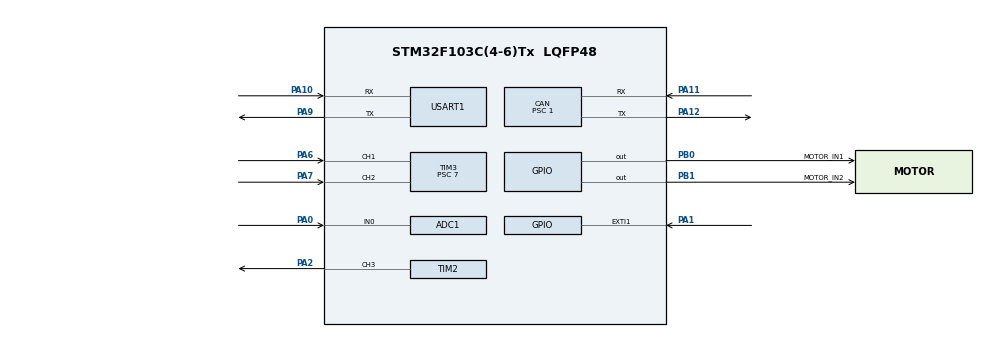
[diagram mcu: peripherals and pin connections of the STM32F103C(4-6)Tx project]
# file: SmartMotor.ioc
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ADC1.Channel-0\#ChannelRegularConversion=ADC_CHANNEL_0
ADC1.ContinuousConvMode=ENABLE
ADC1.NbrOfConversionFlag=1
ADC1.Rank-0\#ChannelRegularConversion=1
ADC1.SamplingTime-0\#ChannelRegularConversion=ADC_SAMPLETIME_1CYCLE_5
ADC1.master=1
CAN.BS1=CAN_BS1_13TQ
CAN.BS2=CAN_BS2_2TQ
CAN.CalculateBaudRate=500000
CAN.CalculateTimeBit=2000
CAN.CalculateTimeQuantum=125.0
CAN.Prescaler=1
Dma.ADC1.0.Direction=DMA_PERIPH_TO_MEMORY
Dma.ADC1.0.Instance=DMA1_Channel1
Dma.ADC1.0.MemDataAlignment=DMA_MDATAALIGN_HALFWORD
Dma.ADC1.0.MemInc=DMA_MINC_ENABLE
Dma.ADC1.0.Mode=DMA_CIRCULAR
Dma.ADC1.0.PeriphDataAlignment=DMA_PDATAALIGN_HALFWORD
Dma.ADC1.0.PeriphInc=DMA_PINC_DISABLE
Dma.ADC1.0.Priority=DMA_PRIORITY_LOW
Dma.Request0=ADC1
Dma.Request1=USART1_RX
Dma.USART1_RX.1.Direction=DMA_PERIPH_TO_MEMORY
Dma.USART1_RX.1.Instance=DMA1_Channel5
Dma.USART1_RX.1.MemDataAlignment=DMA_MDATAALIGN_BYTE
Dma.USART1_RX.1.MemInc=DMA_MINC_ENABLE
Dma.USART1_RX.1.Mode=DMA_NORMAL
Dma.USART1_RX.1.PeriphDataAlignment=DMA_PDATAALIGN_BYTE
Dma.USART1_RX.1.PeriphInc=DMA_PINC_DISABLE
Dma.USART1_RX.1.Priority=DMA_PRIORITY_LOW
FREERTOS.INCLUDE_vTaskDelayUntil=1
FREERTOS.Tasks01=MotorTask,0,256,StartDefaultTask,Default,NULL,Dynamic,NULL,NULL;ControlTask,2,256,StartTask02,Default,NULL,Dynamic,NULL,NULL
FREERTOS.configUSE_NEWLIB_REENTRANT=1
Mcu.Family=STM32F1
Mcu.Name=STM32F103C(4-6)Tx
Mcu.Package=LQFP48
NVIC.DMA1_Channel1_IRQn=true\:5\:0\:false\:false\:true\:true\:false\:true\:true
NVIC.DMA1_Channel5_IRQn=true\:5\:0\:false\:false\:true\:true\:false\:true\:true
NVIC.EXTI1_IRQn=true\:5\:0\:true\:false\:true\:true\:true\:true\:true
NVIC.PriorityGroup=NVIC_PRIORITYGROUP_4
NVIC.TIM1_UP_IRQn=true\:15\:0\:false\:false\:true\:false\:false\:true\:true
NVIC.TimeBase=TIM1_UP_IRQn
NVIC.TimeBaseIP=TIM1
NVIC.USART1_IRQn=true\:6\:0\:true\:false\:true\:true\:true\:true\:true
NVIC.USB_LP_CAN1_RX0_IRQn=true\:5\:0\:false\:false\:true\:true\:true\:true\:true
PA0-WKUP.Signal=ADCx_IN0
PA1.GPIO_ModeDefaultEXTI=GPIO_MODE_IT_FALLING
PA1.GPIO_PuPd=GPIO_PULLUP
PA1.Signal=GPXTI1
PA10.Mode=Asynchronous
PA10.Signal=USART1_RX
PA11.Mode=CAN_Activate
PA11.Signal=CAN_RX
PA12.Mode=CAN_Activate
PA12.Signal=CAN_TX
PA13.Mode=Serial_Wire
PA13.Signal=SYS_JTMS-SWDIO
PA14.Mode=Serial_Wire
PA14.Signal=SYS_JTCK-SWCLK
PA2.Signal=S_TIM2_CH3
PA6.Signal=S_TIM3_CH1
PA7.Signal=S_TIM3_CH2
PA9.Mode=Asynchronous
PA9.Signal=USART1_TX
PB0.GPIO_Label=MOTOR_IN1
PB0.Signal=GPIO_Output
PB1.GPIO_Label=MOTOR_IN2
PB1.Signal=GPIO_Output
ProjectManager.HeapSize=0x200
ProjectManager.StackSize=0x400
ProjectManager.TargetToolchain=STM32CubeIDE
RCC.APB1Freq_Value=8000000
RCC.APB2Freq_Value=8000000
SH.ADCx_IN0.0=ADC1_IN0,IN0
SH.S_TIM2_CH3.0=TIM2_CH3,PWM Generation3 CH3
SH.S_TIM3_CH1.0=TIM3_CH1,Encoder_Interface
SH.S_TIM3_CH2.0=TIM3_CH2,Encoder_Interface
TIM2.Channel-PWM\ Generation3\ CH3=TIM_CHANNEL_3
TIM3.EncoderMode=TIM_ENCODERMODE_TI12
TIM3.Period=999
TIM3.Prescaler=7
USART1.VirtualMode=VM_ASYNC
VP_FREERTOS_VS_CMSIS_V1.Mode=CMSIS_V1
VP_IWDG_VS_IWDG.Mode=IWDG_Activate
VP_SYS_VS_tim1.Mode=TIM1
board=custom

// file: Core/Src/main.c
/* USER CODE BEGIN Header */
/**
 ******************************************************************************
 * @file : main.c
 * @brief : Main program body
 ******************************************************************************
 * @attention
 *
 * Copyright (c) 2026 STMicroelectronics.
 * All rights reserved.
 *
 * This software is licensed under terms that can be found in the LICENSE file
 * in the root directory of this software component.
 * If no LICENSE file comes with this software, it is provided AS-IS.
 *
 ******************************************************************************
 */
/* USER CODE END Header */
#include "main.h"
#include "cmsis_os.h"

/* USER CODE BEGIN Includes */
#include <stdlib.h>
#include <string.h>
#include <stdio.h>
#include <math.h>
#include "semphr.h"
/* USER CODE END Includes */

/* USER CODE BEGIN PD */
//#define COMM_MODE_UART
#if !defined(COMM_MODE_UART) && !defined(COMM_MODE_CAN)
#define COMM_MODE_CAN
#endif
#if defined(COMM_MODE_UART) && defined(COMM_MODE_CAN)
#error Select only one communication mode
#endif
/* USER CODE END PD */

ADC_HandleTypeDef hadc1;
DMA_HandleTypeDef hdma_adc1;

CAN_HandleTypeDef hcan;

IWDG_HandleTypeDef hiwdg;

TIM_HandleTypeDef htim2;
TIM_HandleTypeDef htim3;

UART_HandleTypeDef huart1;
DMA_HandleTypeDef hdma_usart1_rx;

osThreadId MotorTaskHandle;
osThreadId ControlTaskHandle;
/* USER CODE BEGIN PV */
#ifdef COMM_MODE_CAN
CAN_TxHeaderTypeDef TxHeader;
CAN_RxHeaderTypeDef RxHeader;
uint8_t TxData[8];
uint8_t RxData[8];
uint32_t TxMailbox;
const uint32_t CAN_ID_COMMANDS = 0x010;
const uint32_t CAN_ID_TELEMETRY = 0x020;
#endif
uint8_t rx_buffer[33];
#ifdef COMM_MODE_UART
uint8_t uart_rx_buffer[32];
volatile uint8_t uart_restart_needed = 0;
static StaticSemaphore_t uart_tx_mutex_buffer;
static SemaphoreHandle_t uart_tx_mutex;
#endif
volatile uint32_t command_timestamp = 0;
volatile uint32_t command_fault_generation = 0;
volatile uint32_t fault_generation = 0;
volatile uint32_t motor_task_heartbeat = 0;
uint8_t adc_sample_valid = 0;
int8_t last_motor_direction = 0;
uint32_t motor_stop_time = 0;
volatile uint16_t command_length=0;
uint32_t adc_value = 0;
volatile uint8_t command_ready=0;
float motor_current = 0.0f;
const float CURRENT_TRESHOLD = 3.5f;
uint16_t encoder_count = 0;
uint16_t encoder_last_count = 0;
int16_t speed_rpm = 0;
uint32_t last_time = 0;
uint32_t last_pid_time;

typedef struct{
    float Kd;
    float Kp;
    float Ki;
    float integral_sum;
    float prev_error;
    float out_min;
    float out_max;
}PID_Controller;
PID_Controller motor1_pid;
float target_speed_rpm;
int8_t motor_direction = 0;

typedef enum{
	Waiting_command_State,
	Fault_State,
	Motor_logic_Handling_State,
}SystemState_t;
SystemState_t current_state = Waiting_command_State;
typedef enum {
	FAULT_NONE = 0x00,
	FAULT_ESTOP = 0x01,
	FAULT_OVERCURRENT = 0x02,
	FAULT_TIMEOUT = 0x04,
	FAULT_STALL = 0x08,
	FAULT_ADC = 0x10,
	FAULT_TASK = 0x20,
	FAULT_COMM = 0x40
} FaultCode_t;
volatile uint32_t system_faults = FAULT_NONE;
volatile uint32_t last_comm_time = 0;
uint32_t stall_time_ms = 0;
const uint32_t COMM_TIMEOUT_MS = 500;
typedef struct{
uint32_t timestamp;
int16_t current_rpm;
int16_t target_rpm;
float current_amps;
uint32_t active_faults;
}TelemetryPacket_t;
TelemetryPacket_t telemetry_data;
/* USER CODE END PV */

void SystemClock_Config(void);
static void MX_GPIO_Init(void);
static void MX_DMA_Init(void);
static void MX_TIM3_Init(void);
static void MX_USART1_UART_Init(void);
static void MX_ADC1_Init(void);
static void MX_TIM2_Init(void);
static void MX_IWDG_Init(void);
static void MX_CAN_Init(void);
void StartDefaultTask(void const * argument);
void StartTask02(void const * argument);

/* USER CODE BEGIN 0 */

static void StopMotorOutputs(void)
{
    if (htim2.Instance != NULL) {
        __HAL_TIM_SET_COMPARE(&htim2, TIM_CHANNEL_3, 0);
        htim2.Instance->EGR = TIM_EGR_UG;
    }
    HAL_GPIO_WritePin(MOTOR_IN1_GPIO_Port, MOTOR_IN1_Pin, GPIO_PIN_RESET);
    HAL_GPIO_WritePin(MOTOR_IN2_GPIO_Port, MOTOR_IN2_Pin, GPIO_PIN_RESET);
}

static void AddFault(uint32_t faults)
{
    if (faults != FAULT_NONE) {
        system_faults |= faults;
        fault_generation++;
    }
}

static void ResetPID(void)
{
    motor1_pid.integral_sum = 0.0f;
    motor1_pid.prev_error = 0.0f;
    stall_time_ms = 0;
}

static void StopMotor(void)
{
    if (motor_direction != 0 || target_speed_rpm > 0.0f) {
        motor_stop_time = HAL_GetTick();
    }
    StopMotorOutputs();
    motor_direction = 0;
    target_speed_rpm = 0.0f;
    ResetPID();
    current_state = system_faults == FAULT_NONE ? Waiting_command_State : Fault_State;
}

float PID_Compute(PID_Controller *pid, float target_rpm, float current_rpm, float dt)
{
    if (!isfinite(dt) || dt <= 0.0f) {
        return 0.0f;
    }
    float error = target_rpm - current_rpm;
    float integral = pid->integral_sum + pid->Ki * error * dt;
    if (integral > pid->out_max) integral = pid->out_max;
    if (integral < pid->out_min) integral = pid->out_min;
    float d_term = pid->Kd * (error - pid->prev_error) / dt;
    float result = pid->Kp * error + integral + d_term;
    if ((result <= pid->out_max || error < 0.0f) &&
        (result >= pid->out_min || error > 0.0f)) {
        pid->integral_sum = integral;
    }
    result = pid->Kp * error + pid->integral_sum + d_term;
    pid->prev_error = error;
    last_pid_time = HAL_GetTick();
    if (result > pid->out_max) result = pid->out_max;
    if (result < pid->out_min) result = pid->out_min;
    return result;
}

static void StoreCommandFromISR(const uint8_t *data, uint16_t length)
{
    BaseType_t task_woken = pdFALSE;
    UBaseType_t mask = taskENTER_CRITICAL_FROM_ISR();
    if (length == 0 || length >= sizeof(rx_buffer) || command_ready) {
        AddFault(FAULT_COMM);
        command_ready = 0;
        command_length = 0;
        StopMotorOutputs();
    } else {
        memcpy(rx_buffer, data, length);
        rx_buffer[length] = '\0';
        command_length = length;
        command_timestamp = HAL_GetTick();
        command_fault_generation = fault_generation;
        command_ready = 1;
    }
    taskEXIT_CRITICAL_FROM_ISR(mask);
    vTaskNotifyGiveFromISR(MotorTaskHandle, &task_woken);
    portYIELD_FROM_ISR(task_woken);
}

static uint8_t TakeCommand(uint8_t *data, uint16_t *length,
                           uint32_t *timestamp, uint32_t *generation)
{
    uint8_t ready;
    taskENTER_CRITICAL();
    ready = command_ready;
    if (ready) {
        *length = command_length;
        memcpy(data, rx_buffer, *length + 1U);
        *timestamp = command_timestamp;
        *generation = command_fault_generation;
        command_ready = 0;
    }
    taskEXIT_CRITICAL();
    return ready;
}

static uint8_t ProcessCommand(uint8_t *data, uint16_t length, uint32_t timestamp,
                              uint32_t generation, char *reply, size_t reply_size)
{
    while (length > 0 && (data[length - 1U] == '\r' ||
           data[length - 1U] == '\n' || data[length - 1U] == '\0')) {
        length--;
    }
    data[length] = '\0';
    for (uint16_t i = 0; i < length; i++) {
        if (data[i] == '\0' || data[i] == '\r' || data[i] == '\n') {
            snprintf(reply, reply_size, "Unknown command\r\n");
            return 0;
        }
    }
    uint8_t stop = strcmp((char *)data, "STOP") == 0;
    uint8_t reset = strcmp((char *)data, "RESET") == 0;
    uint8_t crash = strcmp((char *)data, "CRASH") == 0;
    int speed = -1;
    int8_t direction = 0;
    if (length >= 2 && length <= 4 && (data[0] == 'F' || data[0] == 'R')) {
        speed = 0;
        direction = data[0] == 'F' ? 1 : -1;
        for (uint16_t i = 1; i < length; i++) {
            if (data[i] < '0' || data[i] > '9') {
                speed = -1;
                break;
            }
            speed = speed * 10 + data[i] - '0';
        }
    }
    if (!stop && !reset && !crash && speed < 0) {
        snprintf(reply, reply_size, "Unknown command\r\n");
        return 0;
    }
    uint32_t now = HAL_GetTick();
    if (!stop && speed != 0 && now - timestamp > COMM_TIMEOUT_MS) {
        snprintf(reply, reply_size, "Command expired\r\n");
        return 0;
    }

    uint8_t do_crash = 0;
    uint32_t faults;
    int16_t rpm;
    uint8_t result = 0;
    taskENTER_CRITICAL();
    if (HAL_GPIO_ReadPin(GPIOA, GPIO_PIN_1) == GPIO_PIN_RESET) {
        AddFault(FAULT_ESTOP);
        StopMotor();
    }
    if (stop || speed == 0) {
        StopMotor();
        last_comm_time = now;
        result = 1;
    } else if (reset) {
        if (generation == fault_generation && adc_sample_valid &&
            motor_current <= CURRENT_TRESHOLD &&
            HAL_GPIO_ReadPin(GPIOA, GPIO_PIN_1) == GPIO_PIN_SET &&
            (system_faults & FAULT_TASK) == 0
#ifdef COMM_MODE_UART
            && !uart_restart_needed
#endif
#ifdef COMM_MODE_CAN
            && (hcan.Instance->ESR & CAN_ESR_BOFF) == 0
#endif
            ) {
            system_faults = FAULT_NONE;
            StopMotor();
            motor_stop_time = now;
            last_comm_time = now;
            result = 2;
        } else {
            result = 3;
        }
    } else if (system_faults == FAULT_NONE) {
        if (crash) {
            StopMotor();
            do_crash = 1;
            result = 4;
        } else if (last_motor_direction != 0 && direction != last_motor_direction &&
                   (motor_direction != 0 || abs(speed_rpm) > 10 ||
                    now - motor_stop_time < 100U)) {
            if (motor_direction != 0) StopMotor();
            last_comm_time = timestamp;
            result = 5;
        } else {
            if (motor_direction == 0) ResetPID();
            motor_direction = direction;
            last_motor_direction = direction;
            target_speed_rpm = (float)speed;
            current_state = Motor_logic_Handling_State;
            last_comm_time = timestamp;
            result = 6;
        }
    }
    faults = system_faults;
    rpm = speed_rpm;
    taskEXIT_CRITICAL();

    if (result == 1) {
        snprintf(reply, reply_size, "Status: Motor stopped, RPM=%d, FAULTS:0x%02lX\r\n",
                 rpm, (unsigned long)faults);
    } else if (result == 2) {
        snprintf(reply, reply_size, "System faults cleared. Ready\r\n");
    } else if (result == 3) {
        snprintf(reply, reply_size, "RESET refused. FAULTS:0x%02lX\r\n", (unsigned long)faults);
    } else if (result == 4) {
        snprintf(reply, reply_size, "Simulating fatal crash\r\n");
    } else if (result == 5) {
        snprintf(reply, reply_size, "Motor stopped. Wait before reversing\r\n");
    } else if (result == 6) {
        snprintf(reply, reply_size, "Status: %s, Target=%d RPM, RPM=%d\r\n",
                 direction > 0 ? "Forward" : "Reverse", speed, rpm);
    } else {
        snprintf(reply, reply_size, "Error! Active Faults: 0x%02lX. Send RESET.\r\n",
                 (unsigned long)faults);
    }
    return do_crash;
}

static void UART_Send(const char *data)
{
#ifdef COMM_MODE_UART
    if (xSemaphoreTake(uart_tx_mutex, pdMS_TO_TICKS(20)) != pdTRUE) return;
#endif
    HAL_UART_Transmit(&huart1, (uint8_t *)data, (uint16_t)strlen(data), 20);
#ifdef COMM_MODE_UART
    xSemaphoreGive(uart_tx_mutex);
#endif
}

static void ControlMotor(uint32_t now, uint8_t adc_valid)
{
    encoder_count = (uint16_t)__HAL_TIM_GET_COUNTER(&htim3);
    uint16_t difference = (uint16_t)(encoder_count - encoder_last_count);
    int32_t delta = difference <= 32767U ? (int32_t)difference : (int32_t)difference - 65536;
    uint32_t elapsed_ms = now - last_time;
    if (elapsed_ms != 0) {
        int32_t rpm = (int32_t)((int64_t)delta * 60000 / ((int64_t)96 * elapsed_ms));
        if (rpm > 32767) rpm = 32767;
        if (rpm < -32768) rpm = -32768;
        speed_rpm = (int16_t)rpm;
        encoder_last_count = encoder_count;
        last_time = now;
    }

    taskENTER_CRITICAL();
    adc_sample_valid = adc_valid;
    uint32_t faults = FAULT_NONE;
    if (!adc_valid) faults |= FAULT_ADC;
    if (adc_valid && motor_current > CURRENT_TRESHOLD) faults |= FAULT_OVERCURRENT;
    if (HAL_GPIO_ReadPin(GPIOA, GPIO_PIN_1) == GPIO_PIN_RESET) faults |= FAULT_ESTOP;
    if (now - motor_task_heartbeat > 300U || elapsed_ms > 300U) faults |= FAULT_TASK;
#ifdef COMM_MODE_CAN
    if ((hcan.Instance->ESR & CAN_ESR_BOFF) != 0) faults |= FAULT_COMM;
#endif
    if (motor_direction != 0 && now - last_comm_time > COMM_TIMEOUT_MS) faults |= FAULT_TIMEOUT;
    AddFault(faults);

    float pwm = 0.0f;
    if (system_faults == FAULT_NONE && motor_direction != 0 && target_speed_rpm > 0.0f) {
        float current_speed_abs = (float)abs(speed_rpm);
        if (elapsed_ms != 0) {
            pwm = PID_Compute(&motor1_pid, target_speed_rpm, current_speed_abs,
                              (float)elapsed_ms / 1000.0f);
        }
        if (target_speed_rpm >= 10.0f && current_speed_abs < 10.0f && pwm > 0.0f) {
            stall_time_ms += elapsed_ms;
            if (stall_time_ms >= 1000U) AddFault(FAULT_STALL);
        } else {
            stall_time_ms = 0;
        }
    }
    if (system_faults != FAULT_NONE || motor_direction == 0 || target_speed_rpm <= 0.0f) {
        StopMotor();
    } else {
        HAL_GPIO_WritePin(MOTOR_IN1_GPIO_Port, MOTOR_IN1_Pin,
                         motor_direction > 0 ? GPIO_PIN_SET : GPIO_PIN_RESET);
        HAL_GPIO_WritePin(MOTOR_IN2_GPIO_Port, MOTOR_IN2_Pin,
                         motor_direction < 0 ? GPIO_PIN_SET : GPIO_PIN_RESET);
        __HAL_TIM_SET_COMPARE(&htim2, TIM_CHANNEL_3, (uint32_t)pwm);
    }
    telemetry_data.timestamp = now;
    telemetry_data.current_rpm = speed_rpm;
    telemetry_data.target_rpm = (int16_t)(target_speed_rpm * motor_direction);
    telemetry_data.current_amps = motor_current;
    telemetry_data.active_faults = system_faults;
    uint8_t watchdog_healthy = (system_faults & FAULT_TASK) == 0;
    taskEXIT_CRITICAL();
    if (watchdog_healthy && HAL_IWDG_Refresh(&hiwdg) != HAL_OK) Error_Handler();
}
/* USER CODE END 0 */

int main(void)
{

  /* MCU Configuration--------------------------------------------------------*/

  /* Reset of all peripherals, Initializes the Flash interface and the Systick. */
  HAL_Init();

  /* Configure the system clock */
  SystemClock_Config();

  /* Initialize all configured peripherals */
  MX_GPIO_Init();
  MX_DMA_Init();
  MX_TIM3_Init();
  MX_USART1_UART_Init();
  MX_ADC1_Init();
  MX_TIM2_Init();
  MX_IWDG_Init();
  MX_CAN_Init();
  /* USER CODE BEGIN 2 */

  StopMotorOutputs();
  if (HAL_ADCEx_Calibration_Start(&hadc1) != HAL_OK) Error_Handler();
#ifdef COMM_MODE_UART
  HAL_NVIC_SetPriority(USART1_IRQn, 5, 0);
#endif
#ifdef COMM_MODE_CAN
  CAN_FilterTypeDef canfilterconfig = {0};
  canfilterconfig.FilterActivation = CAN_FILTER_ENABLE;
  canfilterconfig.FilterBank = 0;
  canfilterconfig.FilterFIFOAssignment = CAN_RX_FIFO0;
  canfilterconfig.FilterIdHigh = (CAN_ID_COMMANDS << 5);
  canfilterconfig.FilterIdLow = 0;
  canfilterconfig.FilterMaskIdHigh = (0x7FF << 5);
  canfilterconfig.FilterMaskIdLow = 0x0006;
  canfilterconfig.FilterMode = CAN_FILTERMODE_IDMASK;
  canfilterconfig.FilterScale = CAN_FILTERSCALE_32BIT;
  canfilterconfig.SlaveStartFilterBank = 14;
  if (HAL_CAN_ConfigFilter(&hcan, &canfilterconfig) != HAL_OK ||
      HAL_CAN_Start(&hcan) != HAL_OK) Error_Handler();
  TxHeader.StdId = CAN_ID_TELEMETRY;
  TxHeader.ExtId = 0;
  TxHeader.IDE = CAN_ID_STD;
  TxHeader.RTR = CAN_RTR_DATA;
  TxHeader.DLC = 8;
  TxHeader.TransmitGlobalTime = DISABLE;
#endif
  if (HAL_TIM_PWM_Start(&htim2, TIM_CHANNEL_3) != HAL_OK ||
      HAL_TIM_Encoder_Start(&htim3, TIM_CHANNEL_ALL) != HAL_OK) Error_Handler();
  StopMotorOutputs();
  last_time = HAL_GetTick();
  motor_task_heartbeat = last_time;
  motor_stop_time = last_time;
  encoder_last_count = (uint16_t)__HAL_TIM_GET_COUNTER(&htim3);
  motor1_pid.Kp = 40.0f;
  motor1_pid.Ki = 10.0f;
  motor1_pid.Kd = 1.0f;
  motor1_pid.out_max = 65535.0f;
  motor1_pid.out_min = 0.0f;
  ResetPID();
  if (HAL_GPIO_ReadPin(GPIOA, GPIO_PIN_1) == GPIO_PIN_RESET) {
    AddFault(FAULT_ESTOP);
    current_state = Fault_State;
  }
  HAL_IWDG_Refresh(&hiwdg);
/* USER CODE END 2 */

  /* USER CODE BEGIN RTOS_MUTEX */
  /* add mutexes, ... */
#ifdef COMM_MODE_UART
  uart_tx_mutex = xSemaphoreCreateMutexStatic(&uart_tx_mutex_buffer);
  if (uart_tx_mutex == NULL) Error_Handler();
#endif
  /* USER CODE END RTOS_MUTEX */

  /* Create the thread(s) */
  /* definition and creation of MotorTask */
  osThreadDef(MotorTask, StartDefaultTask, osPriorityNormal, 0, 256);
  MotorTaskHandle = osThreadCreate(osThread(MotorTask), NULL);

  /* definition and creation of ControlTask */
  osThreadDef(ControlTask, StartTask02, osPriorityHigh, 0, 256);
  ControlTaskHandle = osThreadCreate(osThread(ControlTask), NULL);

  /* USER CODE BEGIN RTOS_THREADS */
  /* add threads, ... */
  if (MotorTaskHandle == NULL || ControlTaskHandle == NULL) Error_Handler();
  /* USER CODE END RTOS_THREADS */

  /* Start scheduler */
  osKernelStart();
  Error_Handler();

  /* We should never get here as control is now taken by the scheduler */

  /* Infinite loop */
  while (1)
  {

  }
}

void SystemClock_Config(void)
{
  RCC_OscInitTypeDef RCC_OscInitStruct = {0};
  RCC_ClkInitTypeDef RCC_ClkInitStruct = {0};
  RCC_PeriphCLKInitTypeDef PeriphClkInit = {0};

  /** Initializes the RCC Oscillators according to the specified parameters
  * in the RCC_OscInitTypeDef structure.
  */
  RCC_OscInitStruct.OscillatorType = RCC_OSCILLATORTYPE_HSI|RCC_OSCILLATORTYPE_LSI;
  RCC_OscInitStruct.HSIState = RCC_HSI_ON;
  RCC_OscInitStruct.HSICalibrationValue = RCC_HSICALIBRATION_DEFAULT;
  RCC_OscInitStruct.LSIState = RCC_LSI_ON;
  RCC_OscInitStruct.PLL.PLLState = RCC_PLL_NONE;
  if (HAL_RCC_OscConfig(&RCC_OscInitStruct) != HAL_OK)
  {
    Error_Handler();
  }

  /** Initializes the CPU, AHB and APB buses clocks
  */
  RCC_ClkInitStruct.ClockType = RCC_CLOCKTYPE_HCLK|RCC_CLOCKTYPE_SYSCLK
                              |RCC_CLOCKTYPE_PCLK1|RCC_CLOCKTYPE_PCLK2;
  RCC_ClkInitStruct.SYSCLKSource = RCC_SYSCLKSOURCE_HSI;
  RCC_ClkInitStruct.AHBCLKDivider = RCC_SYSCLK_DIV1;
  RCC_ClkInitStruct.APB1CLKDivider = RCC_HCLK_DIV1;
  RCC_ClkInitStruct.APB2CLKDivider = RCC_HCLK_DIV1;

  if (HAL_RCC_ClockConfig(&RCC_ClkInitStruct, FLASH_LATENCY_0) != HAL_OK)
  {
    Error_Handler();
  }
  PeriphClkInit.PeriphClockSelection = RCC_PERIPHCLK_ADC;
  PeriphClkInit.AdcClockSelection = RCC_ADCPCLK2_DIV2;
  if (HAL_RCCEx_PeriphCLKConfig(&PeriphClkInit) != HAL_OK)
  {
    Error_Handler();
  }
}

static void MX_ADC1_Init(void)
{

  ADC_ChannelConfTypeDef sConfig = {0};

  /** Common config
  */
  hadc1.Instance = ADC1;
  hadc1.Init.ScanConvMode = ADC_SCAN_DISABLE;
  hadc1.Init.ContinuousConvMode = DISABLE;
  hadc1.Init.DiscontinuousConvMode = DISABLE;
  hadc1.Init.ExternalTrigConv = ADC_SOFTWARE_START;
  hadc1.Init.DataAlign = ADC_DATAALIGN_RIGHT;
  hadc1.Init.NbrOfConversion = 1;
  if (HAL_ADC_Init(&hadc1) != HAL_OK)
  {
    Error_Handler();
  }

  /** Configure Regular Channel
  */
  sConfig.Channel = ADC_CHANNEL_0;
  sConfig.Rank = ADC_REGULAR_RANK_1;
  sConfig.SamplingTime = ADC_SAMPLETIME_1CYCLE_5;
  if (HAL_ADC_ConfigChannel(&hadc1, &sConfig) != HAL_OK)
  {
    Error_Handler();
  }

}

static void MX_CAN_Init(void)
{

  hcan.Instance = CAN1;
  hcan.Init.Prescaler = 1;
  hcan.Init.Mode = CAN_MODE_NORMAL;
  hcan.Init.SyncJumpWidth = CAN_SJW_1TQ;
  hcan.Init.TimeSeg1 = CAN_BS1_13TQ;
  hcan.Init.TimeSeg2 = CAN_BS2_2TQ;
  hcan.Init.TimeTriggeredMode = DISABLE;
  hcan.Init.AutoBusOff = DISABLE;
  hcan.Init.AutoWakeUp = DISABLE;
  hcan.Init.AutoRetransmission = DISABLE;
  hcan.Init.ReceiveFifoLocked = DISABLE;
  hcan.Init.TransmitFifoPriority = DISABLE;
  if (HAL_CAN_Init(&hcan) != HAL_OK)
  {
    Error_Handler();
  }

}

static void MX_IWDG_Init(void)
{

  hiwdg.Instance = IWDG;
  hiwdg.Init.Prescaler = IWDG_PRESCALER_4;
  hiwdg.Init.Reload = 4095;
  if (HAL_IWDG_Init(&hiwdg) != HAL_OK)
  {
    Error_Handler();
  }

}

static void MX_TIM2_Init(void)
{

  TIM_MasterConfigTypeDef sMasterConfig = {0};
  TIM_OC_InitTypeDef sConfigOC = {0};

  htim2.Instance = TIM2;
  htim2.Init.Prescaler = 0;
  htim2.Init.CounterMode = TIM_COUNTERMODE_UP;
  htim2.Init.Period = 65535;
  htim2.Init.ClockDivision = TIM_CLOCKDIVISION_DIV1;
  htim2.Init.AutoReloadPreload = TIM_AUTORELOAD_PRELOAD_DISABLE;
  if (HAL_TIM_PWM_Init(&htim2) != HAL_OK)
  {
    Error_Handler();
  }
  sMasterConfig.MasterOutputTrigger = TIM_TRGO_RESET;
  sMasterConfig.MasterSlaveMode = TIM_MASTERSLAVEMODE_DISABLE;
  if (HAL_TIMEx_MasterConfigSynchronization(&htim2, &sMasterConfig) != HAL_OK)
  {
    Error_Handler();
  }
  sConfigOC.OCMode = TIM_OCMODE_PWM1;
  sConfigOC.Pulse = 0;
  sConfigOC.OCPolarity = TIM_OCPOLARITY_HIGH;
  sConfigOC.OCFastMode = TIM_OCFAST_DISABLE;
  if (HAL_TIM_PWM_ConfigChannel(&htim2, &sConfigOC, TIM_CHANNEL_3) != HAL_OK)
  {
    Error_Handler();
  }
  HAL_TIM_MspPostInit(&htim2);

}

static void MX_TIM3_Init(void)
{

  TIM_Encoder_InitTypeDef sConfig = {0};
  TIM_MasterConfigTypeDef sMasterConfig = {0};

  htim3.Instance = TIM3;
  htim3.Init.Prescaler = 0;
  htim3.Init.CounterMode = TIM_COUNTERMODE_UP;
  htim3.Init.Period = 65535;
  htim3.Init.ClockDivision = TIM_CLOCKDIVISION_DIV1;
  htim3.Init.AutoReloadPreload = TIM_AUTORELOAD_PRELOAD_DISABLE;
  sConfig.EncoderMode = TIM_ENCODERMODE_TI12;
  sConfig.IC1Polarity = TIM_ICPOLARITY_RISING;
  sConfig.IC1Selection = TIM_ICSELECTION_DIRECTTI;
  sConfig.IC1Prescaler = TIM_ICPSC_DIV1;
  sConfig.IC1Filter = 0;
  sConfig.IC2Polarity = TIM_ICPOLARITY_RISING;
  sConfig.IC2Selection = TIM_ICSELECTION_DIRECTTI;
  sConfig.IC2Prescaler = TIM_ICPSC_DIV1;
  sConfig.IC2Filter = 0;
  if (HAL_TIM_Encoder_Init(&htim3, &sConfig) != HAL_OK)
  {
    Error_Handler();
  }
  sMasterConfig.MasterOutputTrigger = TIM_TRGO_RESET;
  sMasterConfig.MasterSlaveMode = TIM_MASTERSLAVEMODE_DISABLE;
  if (HAL_TIMEx_MasterConfigSynchronization(&htim3, &sMasterConfig) != HAL_OK)
  {
    Error_Handler();
  }

}

static void MX_USART1_UART_Init(void)
{

  huart1.Instance = USART1;
  huart1.Init.BaudRate = 115200;
  huart1.Init.WordLength = UART_WORDLENGTH_8B;
  huart1.Init.StopBits = UART_STOPBITS_1;
  huart1.Init.Parity = UART_PARITY_NONE;
  huart1.Init.Mode = UART_MODE_TX_RX;
  huart1.Init.HwFlowCtl = UART_HWCONTROL_NONE;
  huart1.Init.OverSampling = UART_OVERSAMPLING_16;
  if (HAL_UART_Init(&huart1) != HAL_OK)
  {
    Error_Handler();
  }

}

static void MX_DMA_Init(void)
{

  /* DMA controller clock enable */
  __HAL_RCC_DMA1_CLK_ENABLE();

  /* DMA interrupt init */
  /* DMA1_Channel1_IRQn interrupt configuration */
  HAL_NVIC_SetPriority(DMA1_Channel1_IRQn, 5, 0);
  HAL_NVIC_EnableIRQ(DMA1_Channel1_IRQn);
  /* DMA1_Channel5_IRQn interrupt configuration */
  HAL_NVIC_SetPriority(DMA1_Channel5_IRQn, 5, 0);
  HAL_NVIC_EnableIRQ(DMA1_Channel5_IRQn);

}

static void MX_GPIO_Init(void)
{
  GPIO_InitTypeDef GPIO_InitStruct = {0};

  /* GPIO Ports Clock Enable */
  __HAL_RCC_GPIOA_CLK_ENABLE();
  __HAL_RCC_GPIOB_CLK_ENABLE();

  /*Configure GPIO pin Output Level */
  HAL_GPIO_WritePin(GPIOB, MOTOR_IN1_Pin|MOTOR_IN2_Pin, GPIO_PIN_RESET);

  /*Configure GPIO pin : PA1 */
  GPIO_InitStruct.Pin = GPIO_PIN_1;
  GPIO_InitStruct.Mode = GPIO_MODE_IT_FALLING;
  GPIO_InitStruct.Pull = GPIO_PULLUP;
  HAL_GPIO_Init(GPIOA, &GPIO_InitStruct);

  /*Configure GPIO pins : MOTOR_IN1_Pin MOTOR_IN2_Pin */
  GPIO_InitStruct.Pin = MOTOR_IN1_Pin|MOTOR_IN2_Pin;
  GPIO_InitStruct.Mode = GPIO_MODE_OUTPUT_PP;
  GPIO_InitStruct.Pull = GPIO_NOPULL;
  GPIO_InitStruct.Speed = GPIO_SPEED_FREQ_LOW;
  HAL_GPIO_Init(GPIOB, &GPIO_InitStruct);

  /* EXTI interrupt init*/
  HAL_NVIC_SetPriority(EXTI1_IRQn, 5, 0);
  HAL_NVIC_EnableIRQ(EXTI1_IRQn);

}

/* USER CODE BEGIN 4 */

void HAL_GPIO_EXTI_Callback(uint16_t GPIO_Pin)
{
    if (GPIO_Pin == GPIO_PIN_1) {
        UBaseType_t mask = taskENTER_CRITICAL_FROM_ISR();
        AddFault(FAULT_ESTOP);
        StopMotorOutputs();
        taskEXIT_CRITICAL_FROM_ISR(mask);
    }
}

#ifdef COMM_MODE_UART
void HAL_UARTEx_RxEventCallback(UART_HandleTypeDef *huart, uint16_t Size)
{
    if (huart->Instance == USART1) {
        if (HAL_UARTEx_GetRxEventType(huart) == HAL_UART_RXEVENT_HT) return;
        StoreCommandFromISR(uart_rx_buffer, Size);
        if (HAL_UARTEx_ReceiveToIdle_DMA(huart, uart_rx_buffer, sizeof(uart_rx_buffer)) != HAL_OK) {
            UBaseType_t mask = taskENTER_CRITICAL_FROM_ISR();
            AddFault(FAULT_COMM);
            StopMotorOutputs();
            uart_restart_needed = 1;
            taskEXIT_CRITICAL_FROM_ISR(mask);
        }
        __HAL_DMA_DISABLE_IT(huart->hdmarx, DMA_IT_HT);
    }
}

void HAL_UART_ErrorCallback(UART_HandleTypeDef *huart)
{
    if (huart->Instance == USART1) {
        UBaseType_t mask = taskENTER_CRITICAL_FROM_ISR();
        AddFault(FAULT_COMM);
        StopMotorOutputs();
        uart_restart_needed = 1;
        command_ready = 0;
        taskEXIT_CRITICAL_FROM_ISR(mask);
    }
}
#endif

#ifdef COMM_MODE_CAN
void HAL_CAN_RxFifo0MsgPendingCallback(CAN_HandleTypeDef *can)
{
    if (can->Instance != CAN1) return;
    if (HAL_CAN_GetRxMessage(can, CAN_RX_FIFO0, &RxHeader, RxData) != HAL_OK) {
        UBaseType_t mask = taskENTER_CRITICAL_FROM_ISR();
        AddFault(FAULT_COMM);
        StopMotorOutputs();
        taskEXIT_CRITICAL_FROM_ISR(mask);
        return;
    }
    if (RxHeader.IDE == CAN_ID_STD && RxHeader.RTR == CAN_RTR_DATA &&
        RxHeader.StdId == CAN_ID_COMMANDS && RxHeader.DLC > 0 && RxHeader.DLC <= 8) {
        StoreCommandFromISR(RxData, (uint16_t)RxHeader.DLC);
    }
}

void HAL_CAN_ErrorCallback(CAN_HandleTypeDef *can)
{
    if (can->Instance == CAN1) {
        UBaseType_t mask = taskENTER_CRITICAL_FROM_ISR();
        AddFault(FAULT_COMM);
        StopMotorOutputs();
        command_ready = 0;
        taskEXIT_CRITICAL_FROM_ISR(mask);
    }
}
#endif
/* USER CODE END 4 */

void StartDefaultTask(void const * argument)
{
  /* USER CODE BEGIN 5 */

  /* Infinite loop */
  (void)argument;
  char tx_buffer[100];
  uint8_t command[sizeof(rx_buffer)];
#ifdef COMM_MODE_UART
  if (HAL_UARTEx_ReceiveToIdle_DMA(&huart1, uart_rx_buffer, sizeof(uart_rx_buffer)) != HAL_OK) {
    taskENTER_CRITICAL();
    AddFault(FAULT_COMM);
    uart_restart_needed = 1;
    taskEXIT_CRITICAL();
  }
  __HAL_DMA_DISABLE_IT(huart1.hdmarx, DMA_IT_HT);
  UART_Send("\r\n--- SYSTEM BOOT / RESET ---\r\n");
#endif
#ifdef COMM_MODE_CAN
  if (HAL_CAN_ActivateNotification(&hcan, CAN_IT_RX_FIFO0_MSG_PENDING | CAN_IT_RX_FIFO0_OVERRUN) != HAL_OK) {
    Error_Handler();
  }
#endif
  for (;;) {
    motor_task_heartbeat = HAL_GetTick();
    ulTaskNotifyTake(pdTRUE, pdMS_TO_TICKS(20));
    motor_task_heartbeat = HAL_GetTick();
#ifdef COMM_MODE_UART
    taskENTER_CRITICAL();
    uint8_t restart = uart_restart_needed;
    uart_restart_needed = 0;
    taskEXIT_CRITICAL();
    if (restart) {
      HAL_NVIC_DisableIRQ(USART1_IRQn);
      HAL_NVIC_DisableIRQ(DMA1_Channel5_IRQn);
      HAL_StatusTypeDef status = HAL_UART_AbortReceive(&huart1);
      if (status == HAL_OK) {
        status = HAL_UARTEx_ReceiveToIdle_DMA(&huart1, uart_rx_buffer, sizeof(uart_rx_buffer));
        __HAL_DMA_DISABLE_IT(huart1.hdmarx, DMA_IT_HT);
      }
      HAL_NVIC_EnableIRQ(DMA1_Channel5_IRQn);
      HAL_NVIC_EnableIRQ(USART1_IRQn);
      if (status != HAL_OK) {
        taskENTER_CRITICAL();
        AddFault(FAULT_COMM);
        StopMotorOutputs();
        uart_restart_needed = 1;
        taskEXIT_CRITICAL();
      }
    }
#endif
    uint16_t length = 0;
    uint32_t timestamp = 0;
    uint32_t generation = 0;
    if (TakeCommand(command, &length, &timestamp, &generation)) {
      uint8_t crash = ProcessCommand(command, length, timestamp, generation, tx_buffer, sizeof(tx_buffer));
      UART_Send(tx_buffer);
      if (crash) {
        for (;;) {}
      }
    }
  }
/* USER CODE END 5 */
}

void StartTask02(void const * argument)
{
  /* USER CODE BEGIN StartTask02 */

  /* Infinite loop */
  (void)argument;
  TickType_t xLastWakeTime = xTaskGetTickCount();
  const TickType_t xFrequency = pdMS_TO_TICKS(100);
#ifdef COMM_MODE_UART
  char tele_buffer[128];
#endif
  for (;;) {
    uint8_t adc_valid = 0;
    if (HAL_ADC_Start(&hadc1) == HAL_OK && HAL_ADC_PollForConversion(&hadc1, 10) == HAL_OK) {
      adc_value = HAL_ADC_GetValue(&hadc1);
      adc_valid = adc_value <= 4095U;
    }
    if (HAL_ADC_Stop(&hadc1) != HAL_OK) adc_valid = 0;
    taskENTER_CRITICAL();
    if (adc_valid) motor_current = (float)adc_value * 5.0f / 4095.0f;
    taskEXIT_CRITICAL();
    ControlMotor(HAL_GetTick(), adc_valid);
#ifdef COMM_MODE_UART
    int amps_int = (int)telemetry_data.current_amps;
    int amps_frac = (int)((telemetry_data.current_amps - amps_int) * 100.0f);
    snprintf(tele_buffer, sizeof(tele_buffer), "[TELEMETRY] T:%lu RPM:%d TGT:%d I:%d.%02dA FAULTS:0x%02lX\r\n",
             (unsigned long)telemetry_data.timestamp, telemetry_data.current_rpm,
             telemetry_data.target_rpm, amps_int, amps_frac,
             (unsigned long)telemetry_data.active_faults);
    UART_Send(tele_buffer);
#endif
#ifdef COMM_MODE_CAN
    uint16_t rpm = (uint16_t)telemetry_data.current_rpm;
    uint16_t target = (uint16_t)telemetry_data.target_rpm;
    TxData[0] = (uint8_t)(rpm >> 8);
    TxData[1] = (uint8_t)rpm;
    TxData[2] = (uint8_t)(target >> 8);
    TxData[3] = (uint8_t)target;
    TxData[4] = (uint8_t)(telemetry_data.current_amps * 10.0f);
    TxData[5] = (uint8_t)telemetry_data.active_faults;
    TxData[6] = 0;
    TxData[7] = 0;
    if (HAL_CAN_GetTxMailboxesFreeLevel(&hcan) > 0) {
      if (HAL_CAN_AddTxMessage(&hcan, &TxHeader, TxData, &TxMailbox) != HAL_OK) {
        taskENTER_CRITICAL();
        AddFault(FAULT_COMM);
        StopMotor();
        taskEXIT_CRITICAL();
      }
    }
#endif
    vTaskDelayUntil(&xLastWakeTime, xFrequency);
  }
/* USER CODE END StartTask02 */
}

void HAL_TIM_PeriodElapsedCallback(TIM_HandleTypeDef *htim)
{
  if (htim->Instance == TIM1)
  {
    HAL_IncTick();
  }
}

void Error_Handler(void)
{
  /* USER CODE BEGIN Error_Handler_Debug */
  /* User can add his own implementation to report the HAL error return state */
  __disable_irq();
  StopMotorOutputs();
  while (1)
  {
  }
  /* USER CODE END Error_Handler_Debug */
}
